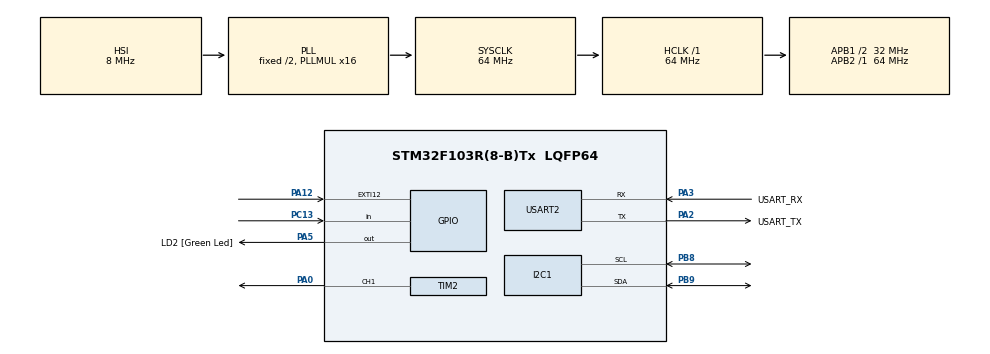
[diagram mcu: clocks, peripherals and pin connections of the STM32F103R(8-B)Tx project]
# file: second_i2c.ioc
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Mcu.Family=STM32F1
Mcu.Name=STM32F103R(8-B)Tx
Mcu.Package=LQFP64
NVIC.EXTI15_10_IRQn=true\:0\:0\:false\:false\:true\:true\:true\:true
NVIC.PriorityGroup=NVIC_PRIORITYGROUP_4
PA0-WKUP.Signal=S_TIM2_CH1_ETR
PA12.GPIO_ModeDefaultEXTI=GPIO_MODE_IT_RISING
PA12.GPIO_PuPd=GPIO_NOPULL
PA12.Signal=GPXTI12
PA13.GPIO_Label=TMS
PA13.Mode=Serial_Wire
PA13.Signal=SYS_JTMS-SWDIO
PA14.GPIO_Label=TCK
PA14.Mode=Serial_Wire
PA14.Signal=SYS_JTCK-SWCLK
PA2.GPIO_Label=USART_TX
PA2.GPIO_Mode=GPIO_MODE_AF_PP
PA2.GPIO_PuPd=GPIO_NOPULL
PA2.GPIO_Speed=GPIO_SPEED_FREQ_LOW
PA2.Mode=Asynchronous
PA2.Signal=USART2_TX
PA3.GPIO_Label=USART_RX
PA3.GPIO_Mode=GPIO_MODE_AF_PP
PA3.GPIO_PuPd=GPIO_NOPULL
PA3.GPIO_Speed=GPIO_SPEED_FREQ_LOW
PA3.Mode=Asynchronous
PA3.Signal=USART2_RX
PA5.GPIO_Label=LD2 [Green Led]
PA5.GPIO_ModeDefaultOutputPP=GPIO_MODE_OUTPUT_PP
PA5.GPIO_PuPd=GPIO_NOPULL
PA5.GPIO_Speed=GPIO_SPEED_FREQ_LOW
PA5.Signal=GPIO_Output
PB3.GPIO_Label=SWO
PB3.Signal=SYS_JTDO-TRACESWO
PB8.Mode=I2C
PB8.Signal=I2C1_SCL
PB9.Mode=I2C
PB9.Signal=I2C1_SDA
PC13-TAMPER-RTC.Signal=GPIO_Input
PC14-OSC32_IN.Mode=LSE-External-Oscillator
PC14-OSC32_IN.Signal=RCC_OSC32_IN
PC15-OSC32_OUT.Mode=LSE-External-Oscillator
PC15-OSC32_OUT.Signal=RCC_OSC32_OUT
PD0-OSC_IN.Mode=HSE-External-Clock-Source
PD0-OSC_IN.Signal=RCC_OSC_IN
PD1-OSC_OUT.Mode=HSE-External-Clock-Source
PD1-OSC_OUT.Signal=RCC_OSC_OUT
ProjectManager.HeapSize=0x200
ProjectManager.StackSize=0x400
ProjectManager.TargetToolchain=STM32CubeIDE
RCC.AHBFreq_Value=64000000
RCC.APB1CLKDivider=RCC_HCLK_DIV2
RCC.APB1Freq_Value=32000000
RCC.APB1TimFreq_Value=64000000
RCC.APB2Freq_Value=64000000
RCC.APB2TimFreq_Value=64000000
RCC.HCLKFreq_Value=64000000
RCC.PLLMUL=RCC_PLL_MUL16
RCC.RTCClockSelection=RCC_RTCCLKSOURCE_LSE
RCC.SYSCLKFreq_VALUE=64000000
RCC.SYSCLKSource=RCC_SYSCLKSOURCE_PLLCLK
RCC.USBFreq_Value=64000000
SH.S_TIM2_CH1_ETR.0=TIM2_CH1,PWM Generation1 CH1
TIM2.Channel-PWM\ Generation1\ CH1=TIM_CHANNEL_1
TIM2.Period=255
TIM2.Pulse-PWM\ Generation1\ CH1=25
USART2.VirtualMode=VM_ASYNC
VP_TIM2_VS_ClockSourceINT.Mode=Internal
board=NUCLEO-F103RB

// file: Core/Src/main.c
/* USER CODE BEGIN Header */
/**
  ******************************************************************************
  * @file           : main.c
  * @brief          : Main program body
  ******************************************************************************
  * @attention
  *
  * Copyright (c) 2023 STMicroelectronics.
  * All rights reserved.
  *
  * This software is licensed under terms that can be found in the LICENSE file
  * in the root directory of this software component.
  * If no LICENSE file comes with this software, it is provided AS-IS.
  *
  ******************************************************************************
  */
/* USER CODE END Header */
#include "main.h"

/* USER CODE BEGIN Includes */
#include <string.h>
#include <stdio.h>
#include <math.h>
/* USER CODE END Includes */

I2C_HandleTypeDef hi2c1;

TIM_HandleTypeDef htim2;

UART_HandleTypeDef huart2;

/* USER CODE BEGIN PV */
static const uint8_t TSL_Address = (0x29 << 1);
/* USER CODE END PV */

void SystemClock_Config(void);
static void MX_GPIO_Init(void);
static void MX_USART2_UART_Init(void);
static void MX_I2C1_Init(void);
static void MX_TIM2_Init(void);

/* USER CODE BEGIN 0 */
int frac(float x){
	return (int)(1000*(x - (int)x));
}

/* USER CODE END 0 */

int main(void)
{
  /* USER CODE BEGIN 1 */
  uint8_t buf[2];
  uint8_t bufch0[2];
  uint8_t bufch1[2];
  float ratio[1];
  float result[1];
  float power;
  uint16_t calc;
  uint16_t valch0;
  uint8_t valch0_low;
  uint16_t valch0_high;
  uint16_t valch1;
  uint8_t valch1_low;
  uint16_t valch1_high;
  /* USER CODE END 1 */

  /* MCU Configuration--------------------------------------------------------*/

  /* Reset of all peripherals, Initializes the Flash interface and the Systick. */
  HAL_Init();

  /* Configure the system clock */
  SystemClock_Config();

  /* Initialize all configured peripherals */
  MX_GPIO_Init();
  MX_USART2_UART_Init();
  MX_I2C1_Init();
  MX_TIM2_Init();
  /* USER CODE BEGIN 2 */

  // Turn on the sensor
  buf[0] = 0x90;
  HAL_I2C_Master_Transmit(&hi2c1, TSL_Address, buf, 1, HAL_MAX_DELAY);
  HAL_I2C_Mem_Write(&hi2c1, TSL_Address, 0x03, 1, buf, 1, HAL_MAX_DELAY);

  // Clear pending interrupts with command
  buf[0] = 0xD0;
  HAL_I2C_Master_Transmit(&hi2c1, TSL_Address, buf, 1, HAL_MAX_DELAY);

  //Setting the interrupt control register
  buf[0] = 0x96;
  HAL_I2C_Master_Transmit(&hi2c1, TSL_Address, buf, 1, HAL_MAX_DELAY);
  HAL_I2C_Mem_Write(&hi2c1, TSL_Address, 0x12, 1, buf, 1, HAL_MAX_DELAY);

  //Setting the GAIN value of the sensor
  buf[0] = 0x91;
  HAL_I2C_Master_Transmit(&hi2c1, TSL_Address, buf, 1, HAL_MAX_DELAY);
  HAL_I2C_Mem_Write(&hi2c1, TSL_Address, 0x12, 1, buf, 1, HAL_MAX_DELAY);

  //Setting the interrupt threshold registers

  buf[0] = 0x94;
  HAL_I2C_Master_Transmit(&hi2c1, TSL_Address, buf, 1, HAL_MAX_DELAY);
  HAL_I2C_Mem_Write(&hi2c1, TSL_Address, 0x4444, 1, buf, 1, HAL_MAX_DELAY);

  buf[0] = 0x95;
  HAL_I2C_Master_Transmit(&hi2c1, TSL_Address, buf, 1, HAL_MAX_DELAY);
  HAL_I2C_Mem_Write(&hi2c1, TSL_Address, 0x4444, 1, buf, 1, HAL_MAX_DELAY);

  /* USER CODE END 2 */

  /* Infinite loop */
  /* USER CODE BEGIN WHILE */
  while (1)
  {
	  // Channel 0 data
	  bufch0[0] = 0x9C;
	  HAL_I2C_Master_Transmit(&hi2c1, TSL_Address, bufch0, 1, HAL_MAX_DELAY);
	  HAL_I2C_Master_Receive(&hi2c1, TSL_Address | 0x01, bufch0, 2, HAL_MAX_DELAY);
	  valch0_low = bufch0[0];
	  valch0_high = bufch0[1];
	  calc = (valch0_high << 8);
	  valch0 = (calc | valch0_low);
	  sprintf((char*)bufch0,"CH0: %d\r\n", valch0);
	  HAL_UART_Transmit(&huart2, bufch0, strlen((char*)bufch0), HAL_MAX_DELAY);

	  // Channel 1 data
	  bufch1[0] = 0x9E;
	  HAL_I2C_Master_Transmit(&hi2c1, TSL_Address, bufch1, 1, HAL_MAX_DELAY);
	  HAL_I2C_Master_Receive(&hi2c1, TSL_Address | 0x01, bufch1, 2, HAL_MAX_DELAY);
	  valch1_low = bufch1[0];
	  valch1_high = bufch1[1];

	  // Combining channel data
	  calc = (valch1_high << 8);
	  valch1 = (calc | valch1_low);

	  // Sending channel data
	  sprintf((char*)bufch1,"CH1: %d\r\n", valch1);
	  HAL_UART_Transmit(&huart2, bufch1, strlen((char*)bufch1), HAL_MAX_DELAY);

	  // Calculating illuminance data
	  ratio[0] = ((float)valch1/(float)valch0);
	  power = pow(ratio[0],1.4);

	  if(0 < ratio[0] && ratio[0]<= 0.5 ){
		  result[0] = 0.0315*valch0 - 0.0593*valch0*power;
	  }else if(0.50 < ratio[0] && ratio[0]<= 0.61){
		  result[0] = 0.0224*valch0 - 0.031*valch1;
	  }else if(0.61 < ratio[0] && ratio[0]<= 0.80){
		  result[0] = 0.0128*valch0 - 0.0153*valch1;
	  }else if(0.80 < ratio[0] && ratio[0]<= 1.30){
		  result[0] = 0.00146*valch0 - 0.00112*valch1;
	  }else if(1.3 < ratio[0]){
		  result[0] = 0;
	  }

	  HAL_Delay(402);

	  sprintf((char*)result,"Illuminance: %d.%03d lux\r\n", (int)result[0], frac(result[0]));
	  HAL_UART_Transmit(&huart2, result, strlen((char*)result), HAL_MAX_DELAY);
    /* USER CODE END WHILE */

  }
}

void SystemClock_Config(void)
{
  RCC_OscInitTypeDef RCC_OscInitStruct = {0};
  RCC_ClkInitTypeDef RCC_ClkInitStruct = {0};

  /** Initializes the RCC Oscillators according to the specified parameters
  * in the RCC_OscInitTypeDef structure.
  */
  RCC_OscInitStruct.OscillatorType = RCC_OSCILLATORTYPE_HSI;
  RCC_OscInitStruct.HSIState = RCC_HSI_ON;
  RCC_OscInitStruct.HSICalibrationValue = RCC_HSICALIBRATION_DEFAULT;
  RCC_OscInitStruct.PLL.PLLState = RCC_PLL_ON;
  RCC_OscInitStruct.PLL.PLLSource = RCC_PLLSOURCE_HSI_DIV2;
  RCC_OscInitStruct.PLL.PLLMUL = RCC_PLL_MUL16;
  if (HAL_RCC_OscConfig(&RCC_OscInitStruct) != HAL_OK)
  {
    Error_Handler();
  }

  /** Initializes the CPU, AHB and APB buses clocks
  */
  RCC_ClkInitStruct.ClockType = RCC_CLOCKTYPE_HCLK|RCC_CLOCKTYPE_SYSCLK
                              |RCC_CLOCKTYPE_PCLK1|RCC_CLOCKTYPE_PCLK2;
  RCC_ClkInitStruct.SYSCLKSource = RCC_SYSCLKSOURCE_PLLCLK;
  RCC_ClkInitStruct.AHBCLKDivider = RCC_SYSCLK_DIV1;
  RCC_ClkInitStruct.APB1CLKDivider = RCC_HCLK_DIV2;
  RCC_ClkInitStruct.APB2CLKDivider = RCC_HCLK_DIV1;

  if (HAL_RCC_ClockConfig(&RCC_ClkInitStruct, FLASH_LATENCY_2) != HAL_OK)
  {
    Error_Handler();
  }
}

static void MX_I2C1_Init(void)
{

  hi2c1.Instance = I2C1;
  hi2c1.Init.ClockSpeed = 100000;
  hi2c1.Init.DutyCycle = I2C_DUTYCYCLE_2;
  hi2c1.Init.OwnAddress1 = 0;
  hi2c1.Init.AddressingMode = I2C_ADDRESSINGMODE_7BIT;
  hi2c1.Init.DualAddressMode = I2C_DUALADDRESS_DISABLE;
  hi2c1.Init.OwnAddress2 = 0;
  hi2c1.Init.GeneralCallMode = I2C_GENERALCALL_DISABLE;
  hi2c1.Init.NoStretchMode = I2C_NOSTRETCH_DISABLE;
  if (HAL_I2C_Init(&hi2c1) != HAL_OK)
  {
    Error_Handler();
  }

}

static void MX_TIM2_Init(void)
{

  TIM_ClockConfigTypeDef sClockSourceConfig = {0};
  TIM_MasterConfigTypeDef sMasterConfig = {0};
  TIM_OC_InitTypeDef sConfigOC = {0};

  htim2.Instance = TIM2;
  htim2.Init.Prescaler = 0;
  htim2.Init.CounterMode = TIM_COUNTERMODE_UP;
  htim2.Init.Period = 255;
  htim2.Init.ClockDivision = TIM_CLOCKDIVISION_DIV1;
  htim2.Init.AutoReloadPreload = TIM_AUTORELOAD_PRELOAD_DISABLE;
  if (HAL_TIM_Base_Init(&htim2) != HAL_OK)
  {
    Error_Handler();
  }
  sClockSourceConfig.ClockSource = TIM_CLOCKSOURCE_INTERNAL;
  if (HAL_TIM_ConfigClockSource(&htim2, &sClockSourceConfig) != HAL_OK)
  {
    Error_Handler();
  }
  if (HAL_TIM_PWM_Init(&htim2) != HAL_OK)
  {
    Error_Handler();
  }
  sMasterConfig.MasterOutputTrigger = TIM_TRGO_RESET;
  sMasterConfig.MasterSlaveMode = TIM_MASTERSLAVEMODE_DISABLE;
  if (HAL_TIMEx_MasterConfigSynchronization(&htim2, &sMasterConfig) != HAL_OK)
  {
    Error_Handler();
  }
  sConfigOC.OCMode = TIM_OCMODE_PWM1;
  sConfigOC.Pulse = 25;
  sConfigOC.OCPolarity = TIM_OCPOLARITY_HIGH;
  sConfigOC.OCFastMode = TIM_OCFAST_DISABLE;
  if (HAL_TIM_PWM_ConfigChannel(&htim2, &sConfigOC, TIM_CHANNEL_1) != HAL_OK)
  {
    Error_Handler();
  }
  HAL_TIM_MspPostInit(&htim2);

}

static void MX_USART2_UART_Init(void)
{

  huart2.Instance = USART2;
  huart2.Init.BaudRate = 115200;
  huart2.Init.WordLength = UART_WORDLENGTH_8B;
  huart2.Init.StopBits = UART_STOPBITS_1;
  huart2.Init.Parity = UART_PARITY_NONE;
  huart2.Init.Mode = UART_MODE_TX_RX;
  huart2.Init.HwFlowCtl = UART_HWCONTROL_NONE;
  huart2.Init.OverSampling = UART_OVERSAMPLING_16;
  if (HAL_UART_Init(&huart2) != HAL_OK)
  {
    Error_Handler();
  }

}

static void MX_GPIO_Init(void)
{
  GPIO_InitTypeDef GPIO_InitStruct = {0};

  /* GPIO Ports Clock Enable */
  __HAL_RCC_GPIOC_CLK_ENABLE();
  __HAL_RCC_GPIOD_CLK_ENABLE();
  __HAL_RCC_GPIOA_CLK_ENABLE();
  __HAL_RCC_GPIOB_CLK_ENABLE();

  /*Configure GPIO pin Output Level */
  HAL_GPIO_WritePin(LD2_GPIO_Port, LD2_Pin, GPIO_PIN_RESET);

  /*Configure GPIO pin : PC13 */
  GPIO_InitStruct.Pin = GPIO_PIN_13;
  GPIO_InitStruct.Mode = GPIO_MODE_INPUT;
  GPIO_InitStruct.Pull = GPIO_NOPULL;
  HAL_GPIO_Init(GPIOC, &GPIO_InitStruct);

  /*Configure GPIO pin : LD2_Pin */
  GPIO_InitStruct.Pin = LD2_Pin;
  GPIO_InitStruct.Mode = GPIO_MODE_OUTPUT_PP;
  GPIO_InitStruct.Pull = GPIO_NOPULL;
  GPIO_InitStruct.Speed = GPIO_SPEED_FREQ_LOW;
  HAL_GPIO_Init(LD2_GPIO_Port, &GPIO_InitStruct);

  /*Configure GPIO pin : PA12 */
  GPIO_InitStruct.Pin = GPIO_PIN_12;
  GPIO_InitStruct.Mode = GPIO_MODE_IT_RISING;
  GPIO_InitStruct.Pull = GPIO_NOPULL;
  HAL_GPIO_Init(GPIOA, &GPIO_InitStruct);

  /* EXTI interrupt init*/
  HAL_NVIC_SetPriority(EXTI15_10_IRQn, 0, 0);
  HAL_NVIC_EnableIRQ(EXTI15_10_IRQn);

}

/* USER CODE BEGIN 4 */

void HAL_GPIO_EXTI_Callback(uint16_t GPIO_Pin)
{
 if (GPIO_Pin == GPIO_PIN_12){
	 HAL_TIM_PWM_Start(&htim2, TIM_CHANNEL_1);

 }
}

/* USER CODE END 4 */

void Error_Handler(void)
{
  __disable_irq();
  while (1)
  {
  }
}
